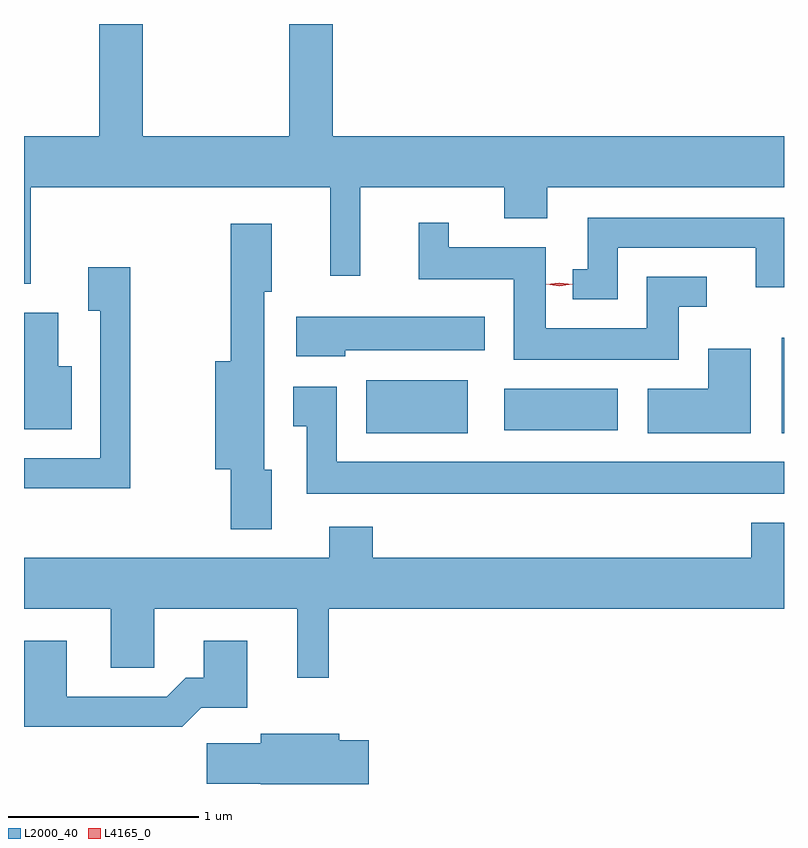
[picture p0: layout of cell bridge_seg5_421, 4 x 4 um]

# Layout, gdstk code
import gdstk
lib = gdstk.Library(unit=1e-6, precision=1e-09)
def R(c, l, rs):  # rectangles x0, y0, x1, y1
    for r in rs: c.add(gdstk.rectangle(r[:2], r[2:], *l))
def P(c, l, *ps):  # polygons
    for p in ps: c.add(gdstk.Polygon(p, *l))
L2000_40 = (2000, 40)
L4165_0 = (4165, 0)

bridge_seg5_421 = lib.new_cell('bridge_seg5_421')
R(bridge_seg5_421, L2000_40, [(391.386,1513.221,391.919,1513.499), (393.571,1513.221,393.584,1513.724), (392.111,1513.236,392.709,1513.454)])
P(bridge_seg5_421, L2000_40, [(389.619,1514.516),(391.196,1514.516),(391.196,1514.048),(391.354,1514.048),(391.354,1514.516),(392.111,1514.516),(392.111,1514.351),(392.339,1514.351),(392.339,1514.516),(393.584,1514.516),(393.584,1514.784),(391.209,1514.784),(391.209,1515.374),(390.981,1515.374),(390.981,1514.784),(390.209,1514.784),(390.209,1515.374),(389.981,1515.374),(389.981,1514.784),(389.584,1514.784),(389.584,1514.006),(389.619,1514.006)],
  [(392.709,1514.196),(393.436,1514.196),(393.436,1513.988),(393.584,1513.988),(393.584,1514.354),(392.551,1514.354),(392.551,1514.084),(392.473,1514.084),(392.473,1513.926),(392.709,1513.926)],
  [(393.029,1513.886),(393.178,1513.886),(393.178,1514.044),(392.861,1514.044),(392.861,1513.774),(392.329,1513.774),(392.329,1514.199),(391.819,1514.199),(391.819,1514.328),(391.661,1514.328),(391.661,1514.031),(392.161,1514.031),(392.161,1513.606),(393.029,1513.606)],
  [(390.889,1513.029),(390.849,1513.029),(390.849,1513.966),(390.889,1513.966),(390.889,1514.324),(390.671,1514.324),(390.671,1513.599),(390.591,1513.599),(390.591,1513.031),(390.671,1513.031),(390.671,1512.716),(390.889,1512.716)],
  [(390.144,1514.094),(389.921,1514.094),(389.921,1513.866),(389.986,1513.866),(389.986,1513.089),(389.584,1513.089),(389.584,1512.931),(390.144,1512.931)],
  [(389.834,1513.574),(389.764,1513.574),(389.764,1513.854),(389.584,1513.854),(389.584,1513.241),(389.834,1513.241)],
  [(391.274,1513.656),(392.009,1513.656),(392.009,1513.834),(391.016,1513.834),(391.016,1513.626),(391.274,1513.626)],
  [(393.409,1513.664),(393.186,1513.664),(393.186,1513.454),(392.866,1513.454),(392.866,1513.221),(393.409,1513.221)],
  [(393.584,1513.069),(391.229,1513.069),(391.229,1513.464),(391.001,1513.464),(391.001,1513.256),(391.071,1513.256),(391.071,1512.901),(393.584,1512.901)],
  [(391.189,1512.296),(393.584,1512.296),(393.584,1512.749),(393.411,1512.749),(393.411,1512.564),(391.419,1512.564),(391.419,1512.729),(391.191,1512.729),(391.191,1512.564),(389.584,1512.564),(389.584,1512.296),(390.041,1512.296),(390.041,1511.986),(390.269,1511.986),(390.269,1512.296),(391.021,1512.296),(391.021,1511.933),(391.189,1511.933)],
  [(390.517,1511.776),(390.759,1511.776),(390.759,1512.129),(390.531,1512.129),(390.531,1511.934),(390.434,1511.934),(390.334,1511.834),(389.809,1511.834),(389.809,1512.129),(389.584,1512.129),(389.584,1511.676),(390.417,1511.676)],
  [(391.399,1511.604),(391.244,1511.604),(391.244,1511.639),(390.831,1511.639),(390.831,1511.589),(390.546,1511.589),(390.546,1511.376),(390.831,1511.376),(390.831,1511.374),(391.399,1511.374)])
P(bridge_seg5_421, L4165_0, [(392.401,1513.994),(392.332,1514.003),(392.332,1514.003),(392.332,1514.004),(392.401,1514.013),(392.471,1514.004),(392.471,1514.004),(392.471,1514.003)])

lib.write_gds('bridge_seg5_421.gds')
